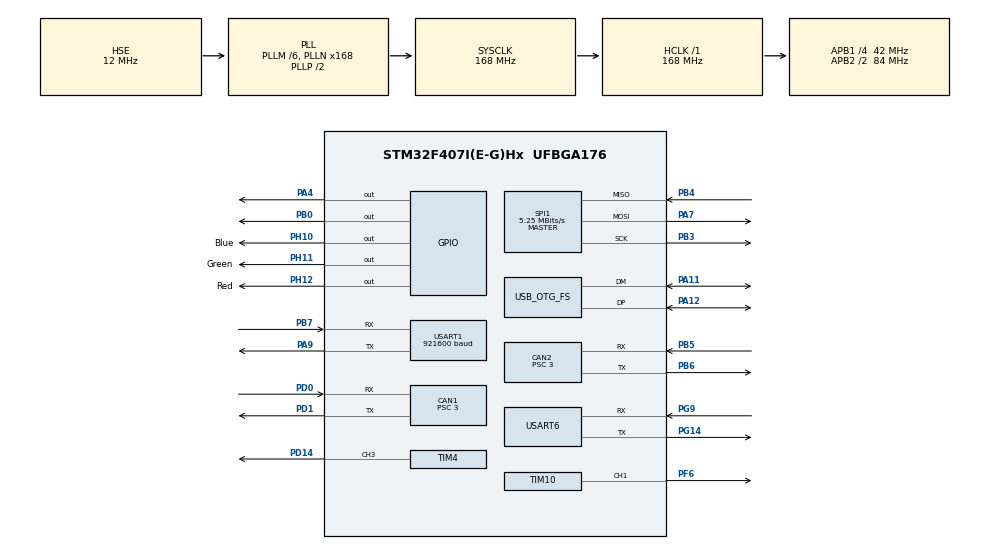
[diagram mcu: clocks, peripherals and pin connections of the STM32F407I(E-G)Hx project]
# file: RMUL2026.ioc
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CAN1.BS1=CAN_BS1_9TQ
CAN1.BS2=CAN_BS2_4TQ
CAN1.CalculateBaudRate=1000000
CAN1.CalculateTimeBit=1000
CAN1.CalculateTimeQuantum=71.42857142857143
CAN1.Prescaler=3
CAN2.BS1=CAN_BS1_9TQ
CAN2.BS2=CAN_BS2_4TQ
CAN2.CalculateBaudRate=1000000
CAN2.CalculateTimeBit=1000
CAN2.CalculateTimeQuantum=71.42857142857143
CAN2.Prescaler=3
Dma.Request0=USART1_RX
Dma.Request1=USART1_TX
Dma.Request2=USART6_RX
Dma.Request3=USART6_TX
Dma.USART1_RX.0.Direction=DMA_PERIPH_TO_MEMORY
Dma.USART1_RX.0.FIFOMode=DMA_FIFOMODE_DISABLE
Dma.USART1_RX.0.Instance=DMA2_Stream5
Dma.USART1_RX.0.MemDataAlignment=DMA_MDATAALIGN_BYTE
Dma.USART1_RX.0.MemInc=DMA_MINC_ENABLE
Dma.USART1_RX.0.Mode=DMA_CIRCULAR
Dma.USART1_RX.0.PeriphDataAlignment=DMA_PDATAALIGN_BYTE
Dma.USART1_RX.0.PeriphInc=DMA_PINC_DISABLE
Dma.USART1_RX.0.Priority=DMA_PRIORITY_HIGH
Dma.USART1_TX.1.Direction=DMA_MEMORY_TO_PERIPH
Dma.USART1_TX.1.FIFOMode=DMA_FIFOMODE_DISABLE
Dma.USART1_TX.1.Instance=DMA2_Stream7
Dma.USART1_TX.1.MemDataAlignment=DMA_MDATAALIGN_BYTE
Dma.USART1_TX.1.MemInc=DMA_MINC_ENABLE
Dma.USART1_TX.1.Mode=DMA_NORMAL
Dma.USART1_TX.1.PeriphDataAlignment=DMA_PDATAALIGN_BYTE
Dma.USART1_TX.1.PeriphInc=DMA_PINC_DISABLE
Dma.USART1_TX.1.Priority=DMA_PRIORITY_MEDIUM
Dma.USART6_RX.2.Direction=DMA_PERIPH_TO_MEMORY
Dma.USART6_RX.2.FIFOMode=DMA_FIFOMODE_DISABLE
Dma.USART6_RX.2.Instance=DMA2_Stream2
Dma.USART6_RX.2.MemDataAlignment=DMA_MDATAALIGN_BYTE
Dma.USART6_RX.2.MemInc=DMA_MINC_ENABLE
Dma.USART6_RX.2.Mode=DMA_CIRCULAR
Dma.USART6_RX.2.PeriphDataAlignment=DMA_PDATAALIGN_BYTE
Dma.USART6_RX.2.PeriphInc=DMA_PINC_DISABLE
Dma.USART6_RX.2.Priority=DMA_PRIORITY_HIGH
Dma.USART6_TX.3.Direction=DMA_MEMORY_TO_PERIPH
Dma.USART6_TX.3.FIFOMode=DMA_FIFOMODE_DISABLE
Dma.USART6_TX.3.Instance=DMA2_Stream6
Dma.USART6_TX.3.MemDataAlignment=DMA_MDATAALIGN_BYTE
Dma.USART6_TX.3.MemInc=DMA_MINC_ENABLE
Dma.USART6_TX.3.Mode=DMA_NORMAL
Dma.USART6_TX.3.PeriphDataAlignment=DMA_PDATAALIGN_BYTE
Dma.USART6_TX.3.PeriphInc=DMA_PINC_DISABLE
Dma.USART6_TX.3.Priority=DMA_PRIORITY_MEDIUM
IWDG.Prescaler=IWDG_PRESCALER_32
IWDG.Reload=1000-1
Mcu.Family=STM32F4
Mcu.Name=STM32F407I(E-G)Hx
Mcu.Package=UFBGA176
NVIC.CAN1_RX0_IRQn=true\:0\:0\:true\:false\:true\:true\:true\:true
NVIC.CAN2_RX1_IRQn=true\:0\:0\:true\:false\:true\:true\:true\:true
NVIC.DMA2_Stream2_IRQn=true\:0\:0\:false\:false\:true\:false\:true\:true
NVIC.DMA2_Stream5_IRQn=true\:0\:0\:false\:false\:true\:false\:true\:true
NVIC.DMA2_Stream6_IRQn=true\:0\:0\:false\:false\:true\:false\:true\:true
NVIC.DMA2_Stream7_IRQn=true\:0\:0\:false\:false\:true\:false\:true\:true
NVIC.OTG_FS_IRQn=true\:0\:0\:false\:false\:true\:false\:true\:true
NVIC.PriorityGroup=NVIC_PRIORITYGROUP_4
NVIC.TIM1_UP_TIM10_IRQn=true\:1\:0\:true\:false\:true\:true\:true\:true
NVIC.TIM4_IRQn=true\:1\:0\:true\:false\:true\:true\:true\:true
NVIC.TIM6_DAC_IRQn=true\:1\:0\:true\:false\:true\:true\:true\:true
NVIC.TIM7_IRQn=true\:1\:0\:true\:false\:true\:true\:true\:true
NVIC.TIM8_UP_TIM13_IRQn=true\:1\:0\:true\:false\:true\:true\:true\:true
NVIC.USART1_IRQn=true\:0\:0\:true\:false\:true\:true\:true\:true
NVIC.USART6_IRQn=true\:0\:0\:false\:false\:true\:true\:true\:true
PA11.Mode=Device_Only
PA11.Signal=USB_OTG_FS_DM
PA12.Mode=Device_Only
PA12.Signal=USB_OTG_FS_DP
PA13.Mode=Serial_Wire
PA13.Signal=SYS_JTMS-SWDIO
PA14.Mode=Serial_Wire
PA14.Signal=SYS_JTCK-SWCLK
PA4.GPIO_Speed=GPIO_SPEED_FREQ_VERY_HIGH
PA4.PinState=GPIO_PIN_SET
PA4.Signal=GPIO_Output
PA7.Mode=Full_Duplex_Master
PA7.Signal=SPI1_MOSI
PA9.Mode=Asynchronous
PA9.Signal=USART1_TX
PB0.GPIO_Speed=GPIO_SPEED_FREQ_VERY_HIGH
PB0.PinState=GPIO_PIN_SET
PB0.Signal=GPIO_Output
PB3.Mode=Full_Duplex_Master
PB3.Signal=SPI1_SCK
PB4.Mode=Full_Duplex_Master
PB4.Signal=SPI1_MISO
PB5.Mode=CAN_Activate
PB5.Signal=CAN2_RX
PB6.Mode=CAN_Activate
PB6.Signal=CAN2_TX
PB7.Mode=Asynchronous
PB7.Signal=USART1_RX
PD0.Mode=CAN_Activate
PD0.Signal=CAN1_RX
PD1.Mode=CAN_Activate
PD1.Signal=CAN1_TX
PD14.Signal=S_TIM4_CH3
PF6.Signal=S_TIM10_CH1
PG14.Mode=Asynchronous
PG14.Signal=USART6_TX
PG9.Mode=Asynchronous
PG9.Signal=USART6_RX
PH0-OSC_IN.Mode=HSE-External-Oscillator
PH0-OSC_IN.Signal=RCC_OSC_IN
PH1-OSC_OUT.Mode=HSE-External-Oscillator
PH1-OSC_OUT.Signal=RCC_OSC_OUT
PH10.GPIO_Label=Blue
PH10.PinState=GPIO_PIN_SET
PH10.Signal=GPIO_Output
PH11.GPIO_Label=Green
PH11.PinState=GPIO_PIN_SET
PH11.Signal=GPIO_Output
PH12.GPIO_Label=Red
PH12.PinState=GPIO_PIN_SET
PH12.Signal=GPIO_Output
ProjectManager.HeapSize=0x200
ProjectManager.StackSize=0x400
ProjectManager.TargetToolchain=Makefile
RCC.48MHZClocksFreq_Value=48000000
RCC.AHBFreq_Value=168000000
RCC.APB1CLKDivider=RCC_HCLK_DIV4
RCC.APB1Freq_Value=42000000
RCC.APB1TimFreq_Value=84000000
RCC.APB2CLKDivider=RCC_HCLK_DIV2
RCC.APB2Freq_Value=84000000
RCC.APB2TimFreq_Value=168000000
RCC.CortexFreq_Value=168000000
RCC.EnbaleCSS=true
RCC.HCLKFreq_Value=168000000
RCC.HSE_VALUE=12000000
RCC.HSI_VALUE=16000000
RCC.LSE_VALUE=32768
RCC.PLLM=6
RCC.PLLN=168
RCC.PLLQ=7
RCC.SYSCLKFreq_VALUE=168000000
RCC.SYSCLKSource=RCC_SYSCLKSOURCE_PLLCLK
RCC.VCOOutputFreq_Value=336000000
SH.S_TIM10_CH1.0=TIM10_CH1,PWM Generation1 CH1
SH.S_TIM4_CH3.0=TIM4_CH3,PWM Generation3 CH3
SPI1.BaudRatePrescaler=SPI_BAUDRATEPRESCALER_16
SPI1.CLKPhase=SPI_PHASE_2EDGE
SPI1.CLKPolarity=SPI_POLARITY_HIGH
SPI1.CalculateBaudRate=5.25 MBits/s
SPI1.Direction=SPI_DIRECTION_2LINES
SPI1.Mode=SPI_MODE_MASTER
SPI1.VirtualType=VM_MASTER
STMicroelectronics.X-CUBE-ALGOBUILD.1.4.0.LibraryCcDSPOoLibraryJjDSPOoLibrary=true
TIM10.Channel=TIM_CHANNEL_1
TIM10.Period=1000-1
TIM10.Prescaler=168-1
TIM13.Period=5000-1
TIM13.Prescaler=84-1
TIM4.Channel-PWM\ Generation3\ CH3=TIM_CHANNEL_3
TIM4.Period=1000-1
TIM4.Prescaler=84-1
TIM6.Period=1000-1
TIM6.Prescaler=84-1
TIM7.Period=8000-1
TIM7.Prescaler=84-1
USART1.BaudRate=921600
USART1.VirtualMode=VM_ASYNC
USART6.VirtualMode=VM_ASYNC
USB_DEVICE.CLASS_NAME_FS=CDC
USB_DEVICE.VirtualMode-CDC_FS=Cdc
USB_DEVICE.VirtualModeFS=Cdc_FS
USB_OTG_FS.VirtualMode=Device_Only
VP_IWDG_VS_IWDG.Mode=IWDG_Activate
VP_STMicroelectronics.X-CUBE-ALGOBUILD_VS_DSPOoLibraryJjLibrary_1.4.0_1.4.0.Mode=DSPOoLibraryJjLibrary
VP_TIM10_VS_ClockSourceINT.Mode=Enable_Timer
VP_TIM13_VS_ClockSourceINT.Mode=Enable_Timer
VP_TIM6_VS_ClockSourceINT.Mode=Enable_Timer
VP_TIM7_VS_ClockSourceINT.Mode=Enable_Timer
VP_USB_DEVICE_VS_USB_DEVICE_CDC_FS.Mode=CDC_FS
board=custom

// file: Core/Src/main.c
/* USER CODE BEGIN Header */
/**
  ******************************************************************************
  * @file           : main.c
  * @brief          : Main program body
  ******************************************************************************
  * @attention
  *
  * Copyright (c) 2025 STMicroelectronics.
  * All rights reserved.
  *
  * This software is licensed under terms that can be found in the LICENSE file
  * in the root directory of this software component.
  * If no LICENSE file comes with this software, it is provided AS-IS.
  *
  ******************************************************************************
  */
/* USER CODE END Header */
#include "main.h"
#include "can.h"
#include "dma.h"
#include "iwdg.h"
#include "spi.h"
#include "tim.h"
#include "usart.h"
#include "usb_device.h"
#include "gpio.h"

/* USER CODE BEGIN Includes */
#include "vt.h"
#include "imu.h"
#include "referee.h"
#include "motors.h"
#include "game_task.h"

/* USER CODE END Includes */

void SystemClock_Config(void);

int main(void)
{

  /* MCU Configuration--------------------------------------------------------*/

  /* Reset of all peripherals, Initializes the Flash interface and the Systick. */
  HAL_Init();

  /* Configure the system clock */
  SystemClock_Config();

  /* Initialize all configured peripherals */
  MX_GPIO_Init();
  MX_DMA_Init();
  MX_IWDG_Init();
  MX_USART1_UART_Init();
  MX_USART6_UART_Init();
  MX_SPI1_Init();
  MX_CAN1_Init();
  MX_CAN2_Init();
  MX_TIM4_Init();
  MX_TIM6_Init();
  MX_TIM7_Init();
  MX_TIM10_Init();
  MX_TIM13_Init();
  MX_USB_DEVICE_Init();

  /* Infinite loop */
  /* USER CODE BEGIN WHILE */
  //开启蜂鸣器
  HAL_TIM_PWM_Start(&htim4, TIM_CHANNEL_3);
  __HAL_TIM_SET_COMPARE(&htim4, TIM_CHANNEL_3, 500);

  //初始化
  VT_Init(); //遥控器
  IMU_Init(); //陀螺仪
  Referee_Init(); //裁判系统

  //关闭蜂鸣器
  __HAL_TIM_SET_COMPARE(&htim4, TIM_CHANNEL_3, 0);

  //关闭RGB
  HAL_GPIO_WritePin(Red_GPIO_Port, Red_Pin, GPIO_PIN_RESET);
  HAL_GPIO_WritePin(Green_GPIO_Port, Green_Pin, GPIO_PIN_RESET);
  HAL_GPIO_WritePin(Blue_GPIO_Port, Blue_Pin, GPIO_PIN_RESET);

  //等待看门狗生效
  HAL_Delay(1000);
  Enable_Motors(); //使能电机控制
  Game_Start(); //使能游戏控制
  // MX_USB_DEVICE_Init();// 开始orin nano通讯
  while (1)
  {
    HAL_Delay(999);
    HAL_GPIO_TogglePin(Green_GPIO_Port,Green_Pin); //绿灯常闪
    /* USER CODE END WHILE */

  }
}

void SystemClock_Config(void)
{
  RCC_OscInitTypeDef RCC_OscInitStruct = {0};
  RCC_ClkInitTypeDef RCC_ClkInitStruct = {0};

  /** Configure the main internal regulator output voltage
  */
  __HAL_RCC_PWR_CLK_ENABLE();
  __HAL_PWR_VOLTAGESCALING_CONFIG(PWR_REGULATOR_VOLTAGE_SCALE1);

  /** Initializes the RCC Oscillators according to the specified parameters
  * in the RCC_OscInitTypeDef structure.
  */
  RCC_OscInitStruct.OscillatorType = RCC_OSCILLATORTYPE_LSI|RCC_OSCILLATORTYPE_HSE;
  RCC_OscInitStruct.HSEState = RCC_HSE_ON;
  RCC_OscInitStruct.LSIState = RCC_LSI_ON;
  RCC_OscInitStruct.PLL.PLLState = RCC_PLL_ON;
  RCC_OscInitStruct.PLL.PLLSource = RCC_PLLSOURCE_HSE;
  RCC_OscInitStruct.PLL.PLLM = 6;
  RCC_OscInitStruct.PLL.PLLN = 168;
  RCC_OscInitStruct.PLL.PLLP = RCC_PLLP_DIV2;
  RCC_OscInitStruct.PLL.PLLQ = 7;
  if (HAL_RCC_OscConfig(&RCC_OscInitStruct) != HAL_OK)
  {
    Error_Handler();
  }

  /** Initializes the CPU, AHB and APB buses clocks
  */
  RCC_ClkInitStruct.ClockType = RCC_CLOCKTYPE_HCLK|RCC_CLOCKTYPE_SYSCLK
                              |RCC_CLOCKTYPE_PCLK1|RCC_CLOCKTYPE_PCLK2;
  RCC_ClkInitStruct.SYSCLKSource = RCC_SYSCLKSOURCE_PLLCLK;
  RCC_ClkInitStruct.AHBCLKDivider = RCC_SYSCLK_DIV1;
  RCC_ClkInitStruct.APB1CLKDivider = RCC_HCLK_DIV4;
  RCC_ClkInitStruct.APB2CLKDivider = RCC_HCLK_DIV2;

  if (HAL_RCC_ClockConfig(&RCC_ClkInitStruct, FLASH_LATENCY_5) != HAL_OK)
  {
    Error_Handler();
  }

  /** Enables the Clock Security System
  */
  HAL_RCC_EnableCSS();
}

void Error_Handler(void)
{
  __disable_irq();
  while (1)
  {
  }
}
